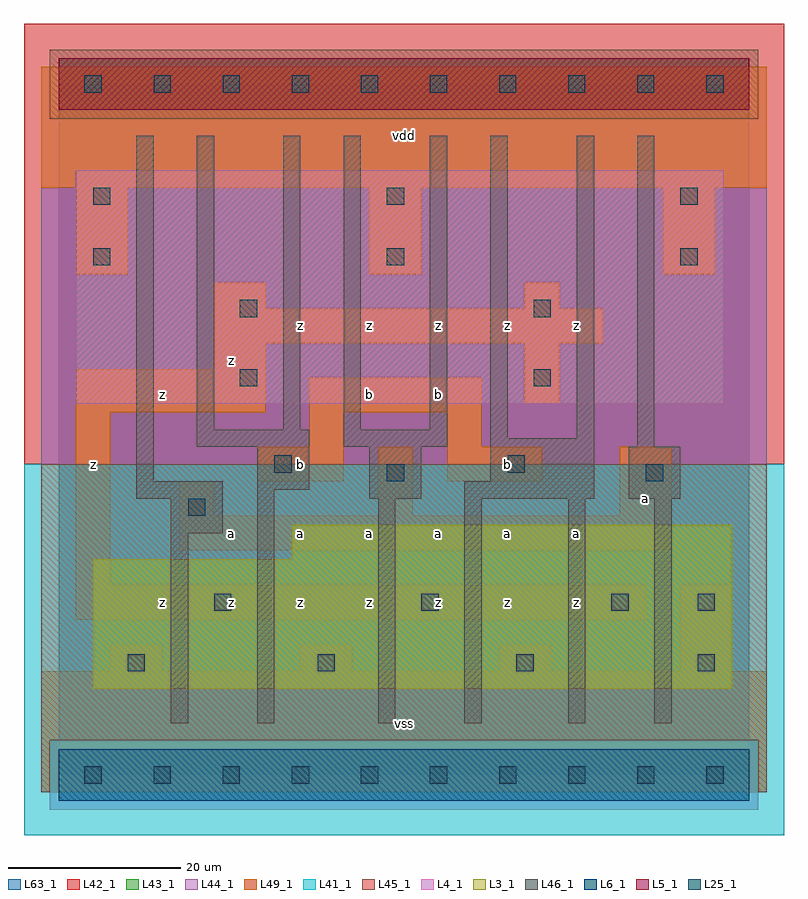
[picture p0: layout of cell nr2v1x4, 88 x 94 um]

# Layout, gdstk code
import gdstk
lib = gdstk.Library(unit=1e-6, precision=1e-09)
def R(c, l, rs):  # rectangles x0, y0, x1, y1
    for r in rs: c.add(gdstk.rectangle(r[:2], r[2:], *l))
def A(c, l, x, y, w, h, nx, ny, dx, dy):  # array of equal rectangles
    R(c, l, [(x+i*dx, y+j*dy, x+i*dx+w, y+j*dy+h) for i in range(nx) for j in range(ny)])
L3_1 = (3, 1)
L4_1 = (4, 1)
L5_1 = (5, 1)
L6_1 = (6, 1)
L25_1 = (25, 1)
L41_1 = (41, 1)
L42_1 = (42, 1)
L43_1 = (43, 1)
L44_1 = (44, 1)
L45_1 = (45, 1)
L46_1 = (46, 1)
L49_1 = (49, 1)
L63_1 = (63, 1)

nr2v1x4 = lib.new_cell('nr2v1x4')
R(nr2v1x4, L3_1, [(4,10,78,25), (27,25,78,29)])
R(nr2v1x4, L4_1, [(2,43,77,70)])
R(nr2v1x4, L5_1, [(0,77,80,83)])
R(nr2v1x4, L6_1, [(0,-3,80,3), (0,-3,80,3)])
A(nr2v1x4, L25_1, 3, -1, 2, 2, 10, 2, 8, 80)
A(nr2v1x4, L25_1, 4, 59, 2, 2, 3, 2, 34, 7)
R(nr2v1x4, L25_1, [(8,12,10,14), (30,12,32,14), (53,12,55,14), (74,12,76,14), (18,19,20,21), (42,19,44,21), (64,19,66,21), (74,19,76,21), (15,30,17,32), (38,34,40,36), (68,34,70,36), (25,35,27,37), (52,35,54,37), (21,45,23,47), (55,45,57,47), (21,53,23,55), (55,53,57,55)])
R(nr2v1x4, L41_1, [(-4,-7,84,36)])
R(nr2v1x4, L42_1, [(-4,36,84,87)])
R(nr2v1x4, L43_1, [(0,-3,80,3), (4,10,78,25), (27,25,78,29), (2,43,77,70), (0,77,80,83)])
R(nr2v1x4, L44_1, [(-1,-4,81,4), (-2,36,82,76), (-2,76,-1,82), (81,76,82,82)])
R(nr2v1x4, L45_1, [(-2,-2,-1,4), (81,-2,82,4), (-2,4,82,36), (-1,76,81,84)])
R(nr2v1x4, L46_1, [(13,6,15,28), (23,6,25,33), (37,6,39,32), (47,6,49,32), (59,6,61,32), (69,6,71,32), (13,28,19,32), (9,32,19,34), (36,32,42,38), (47,32,62,34), (66,32,72,38), (23,33,29,38), (9,34,11,74), (50,34,62,39), (16,38,29,40), (33,38,45,40), (67,38,69,74), (50,39,52,74), (60,39,62,74), (16,40,18,74), (26,40,28,74), (33,40,35,74), (43,40,45,74)])
A(nr2v1x4, L49_1, 2, 58, 6, 10, 3, 1, 34, 0)
R(nr2v1x4, L49_1, [(-2,-2,82,12), (6,12,12,15), (28,12,34,15), (51,12,57,15), (72,12,78,22), (2,18,68,22), (2,22,6,42), (14,26,71,30), (14,30,18,34), (37,30,41,38), (65,30,71,38), (23,34,33,38), (45,34,56,38), (29,38,33,42), (45,38,49,42), (2,42,24,47), (29,42,49,46), (54,43,58,50), (18,47,24,50), (18,50,63,54), (18,54,24,57), (54,54,58,57), (-2,68,82,82)])
R(nr2v1x4, L63_1, [(0,0,80,80)])
nr2v1x4.add(gdstk.Label('z', (4,36), layer=49, texttype=1))
nr2v1x4.add(gdstk.Label('z', (12,20), layer=49, texttype=1))
nr2v1x4.add(gdstk.Label('z', (20,20), layer=49, texttype=1))
nr2v1x4.add(gdstk.Label('a', (20,28), layer=49, texttype=1))
nr2v1x4.add(gdstk.Label('z', (28,20), layer=49, texttype=1))
nr2v1x4.add(gdstk.Label('a', (28,28), layer=49, texttype=1))
nr2v1x4.add(gdstk.Label('z', (12,44), layer=49, texttype=1))
nr2v1x4.add(gdstk.Label('b', (28,36), layer=49, texttype=1))
nr2v1x4.add(gdstk.Label('z', (28,52), layer=49, texttype=1))
nr2v1x4.add(gdstk.Label('z', (20,48), layer=49, texttype=1))
nr2v1x4.add(gdstk.Label('vss', (40,6), layer=49, texttype=1))
nr2v1x4.add(gdstk.Label('z', (36,20), layer=49, texttype=1))
nr2v1x4.add(gdstk.Label('a', (36,28), layer=49, texttype=1))
nr2v1x4.add(gdstk.Label('z', (44,20), layer=49, texttype=1))
nr2v1x4.add(gdstk.Label('a', (44,28), layer=49, texttype=1))
nr2v1x4.add(gdstk.Label('b', (36,44), layer=49, texttype=1))
nr2v1x4.add(gdstk.Label('b', (44,44), layer=49, texttype=1))
nr2v1x4.add(gdstk.Label('z', (36,52), layer=49, texttype=1))
nr2v1x4.add(gdstk.Label('z', (44,52), layer=49, texttype=1))
nr2v1x4.add(gdstk.Label('vdd', (40,74), layer=49, texttype=1))
nr2v1x4.add(gdstk.Label('z', (52,20), layer=49, texttype=1))
nr2v1x4.add(gdstk.Label('a', (52,28), layer=49, texttype=1))
nr2v1x4.add(gdstk.Label('z', (60,20), layer=49, texttype=1))
nr2v1x4.add(gdstk.Label('a', (60,28), layer=49, texttype=1))
nr2v1x4.add(gdstk.Label('b', (52,36), layer=49, texttype=1))
nr2v1x4.add(gdstk.Label('z', (60,52), layer=49, texttype=1))
nr2v1x4.add(gdstk.Label('z', (52,52), layer=49, texttype=1))
nr2v1x4.add(gdstk.Label('a', (68,32), layer=49, texttype=1))

lib.write_gds('nr2v1x4.gds')
